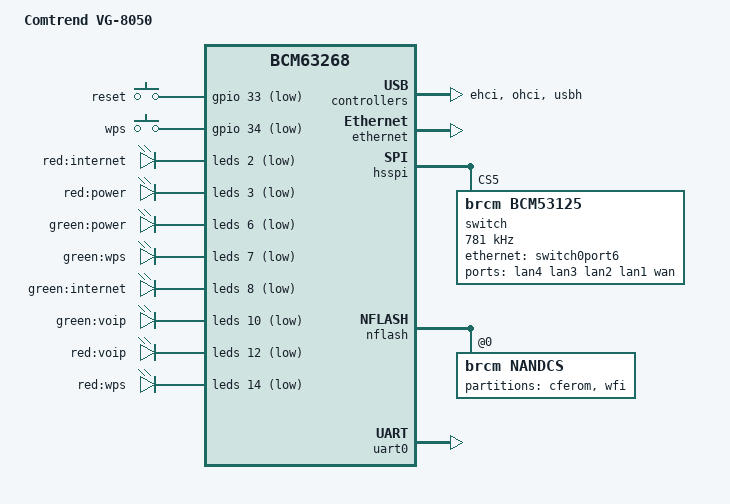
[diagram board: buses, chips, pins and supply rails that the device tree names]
// SPDX-License-Identifier: GPL-2.0-or-later

#include "bcm63268.dtsi"

/ {
	model = "Comtrend VG-8050";
	compatible = "comtrend,vg-8050", "brcm,bcm63169", "brcm,bcm63268";

	aliases {
		led-boot = &led_power_green;
		led-failsafe = &led_power_red;
		led-running = &led_power_green;
		led-upgrade = &led_power_green;
	};

	keys {
		compatible = "gpio-keys-polled";
		poll-interval = <100>;

		reset {
			label = "reset";
			gpios = <&gpio 33 GPIO_ACTIVE_LOW>;
			linux,code = <KEY_RESTART>;
			debounce-interval = <60>;
		};

		wps {
			label = "wps";
			gpios = <&gpio 34 GPIO_ACTIVE_LOW>;
			linux,code = <KEY_WPS_BUTTON>;
			debounce-interval = <60>;
		};
	};
};

&ehci {
	status = "okay";
};

&ethernet {
	status = "okay";

	nvmem-cells = <&macaddr_cferom_6a0>;
	nvmem-cell-names = "mac-address";
};

&hsspi {
	status = "okay";

	pinctrl-names = "default";
	pinctrl-0 = <&pinctrl_hsspi_cs5>;

	switch@5 {
		compatible = "brcm,bcm53125";
		reg = <5>;
		spi-max-frequency = <781000>;
		spi-cpha;
		spi-cpol;
		dsa,member = <1 0>;

		ports {
			#address-cells = <1>;
			#size-cells = <0>;

			port@0 {
				reg = <0>;
				label = "lan4";
			};

			port@1 {
				reg = <1>;
				label = "lan3";
			};

			port@2 {
				reg = <2>;
				label = "lan2";
			};

			port@3 {
				reg = <3>;
				label = "lan1";
			};

			port@4 {
				reg = <4>;
				label = "wan";
			};

			port@8 {
				reg = <8>;

				phy-mode = "rgmii";
				ethernet = <&switch0port6>;

				fixed-link {
					speed = <1000>;
					full-duplex;
				};
			};
		};
	};
};

&leds {
	status = "okay";

	brcm,serial-leds;
	brcm,serial-dat-low;
	brcm,serial-shift-inv;

	pinctrl-names = "default";
	pinctrl-0 = <&pinctrl_serial_led>;

	led@2 {
		reg = <2>;
		active-low;
		label = "red:internet";
	};

	led_power_red: led@3 {
		reg = <3>;
		active-low;
		label = "red:power";
		panic-indicator;
	};

	led_power_green: led@6 {
		reg = <6>;
		active-low;
		label = "green:power";
	};

	led@7 {
		reg = <7>;
		active-low;
		label = "green:wps";
	};

	led@8 {
		reg = <8>;
		active-low;
		label = "green:internet";
	};

	led@10 {
		reg = <10>;
		active-low;
		label = "green:voip";
	};

	led@12 {
		reg = <12>;
		active-low;
		label = "red:voip";
	};

	led@14 {
		reg = <14>;
		active-low;
		label = "red:wps";
	};
};

&nflash {
	status = "okay";

	nandcs@0 {
		compatible = "brcm,nandcs";
		reg = <0>;
		nand-ecc-step-size = <512>;
		nand-ecc-strength = <15>;
		nand-on-flash-bbt;
		brcm,nand-oob-sector-size = <64>;

		#address-cells = <1>;
		#size-cells = <1>;

		partitions {
			compatible = "fixed-partitions";
			#address-cells = <1>;
			#size-cells = <1>;

			cferom: partition@0 {
				label = "cferom";
				reg = <0x0000000 0x0020000>;
				read-only;

				nvmem-layout {
					compatible = "fixed-layout";
					#address-cells = <1>;
					#size-cells = <1>;

					macaddr_cferom_6a0: macaddr@6a0 {
						reg = <0x6a0 0x6>;
					};
				};
			};

			partition@20000 {
				compatible = "brcm,wfi-split";
				label = "wfi";
				reg = <0x0020000 0x7ac0000>;
			};
		};
	};
};

&ohci {
	status = "okay";
};

&switch0 {
	dsa,member = <0 0>;

	ports {
		switch0port6: port@6 {
			reg = <6>;
			label = "extsw";

			phy-mode = "rgmii";

			fixed-link {
				speed = <1000>;
				full-duplex;
			};
		};
	};
};

&uart0 {
	status = "okay";
};

&usbh {
	status = "okay";
};
